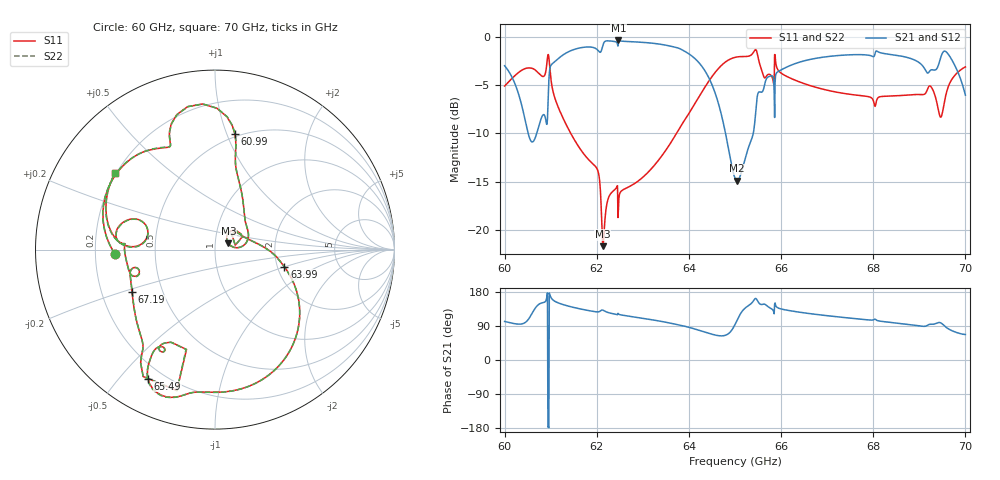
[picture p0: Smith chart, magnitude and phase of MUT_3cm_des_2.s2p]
! TOUCHSTONE file generated by CST MICROWAVE STUDIO
! Date and time: Thu Feb 22 13:10:59 2024
! Project name: material_desal.cst
! Header version: 2018
! Port assignment regex: !\s*Touchstone port\s*([0-9]+)\s*=\s*(CST MWS port|CST DS port)\s*([0-9]+|Zmin|Zmax)\s*\(\"(.*)\"\)(\s*mode\s*([0-9]+))?.*
! Touchstone port assignment:
! Touchstone port 1 = CST MWS port 1 ("")
! Touchstone port 2 = CST MWS port 2 ("")
# GHz S MA R 376.7
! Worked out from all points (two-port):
!   1001 points, 60 GHz to 70 GHz, reference 376.7 ohm
!   highest |S21| = -0.32 dB at 62.47 GHz (marker M1); lowest = -14.9 dB at 65.05 GHz (marker M2)
!   |S21| within 3 dB of the highest: 60.98 GHz to 64.33 GHz (3.347 GHz wide, 5.34 % of centre); 66.02 GHz to 69.12 GHz (3.098 GHz wide, 4.59 % of centre)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
!   lowest |S11| = -21.7 dB at 62.13 GHz (marker M3), VSWR 1.18, Z = 436 + j30.2 ohm
!   |S11| at or under -10 dB: 61.44 GHz to 63.73 GHz (2.291 GHz wide, 3.66 % of centre)
!   |S22| runs from -21.6 to -1.2 dB; largest |S21 - S12| = 0.0049
!   S11 on the Smith chart (normalised r, x): 60 GHz: 0.28, -0.02; 60.99 GHz: 0.47, +1.07; 63.99 GHz: 2.18, -0.50; 65.49 GHz: 0.14, -0.60; 67.19 GHz: 0.33, -0.22; 70 GHz: 0.19, +0.33
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60  0.558 -177.6  0.7118 101.7  0.7118 101.7  0.5583 -177.7
60.6  0.6896 133.4  0.2858 124.0  0.2858 124.1  0.6907 133.3
60.89  0.6583 112.5  0.376 155.1  0.3763 155.1  0.66 112.3
60.99  0.6552 80.3  0.7012 169.2  0.7014 169.2  0.6547 80.2
61.16  0.4352 73.4  0.7739 150.9  0.7739 150.9  0.4354 73.4
61.67  0.2566 50.6  0.8846 134.1  0.8847 134.1  0.257 50.6
62.01  0.2063 25.9  0.8637 126.9  0.8635 126.9  0.2074 26.1
62.13  0.082 24.8  0.9057 131.7  0.9057 131.7  0.08289 24.4
62.47  0.1271 42.7  0.9636 121.9  0.9645 121.9  0.1258 42.5
63.34  0.2296 9.7  0.924 103.2  0.9235 103.3  0.23 9.6
63.99  0.3985 -13.9  0.8235 86.5  0.8231 86.6  0.399 -14.1
64.54  0.6437 -44.2  0.5365 66.7  0.5366 66.6  0.6446 -44.4
65  0.787 -77.8  0.1852 93.6  0.1853 93.5  0.7878 -78.0
65.05  0.7913 -81.4  0.1796 106.2  0.1797 106.1  0.7921 -81.5
65.49  0.8102 -117.5  0.5023 155.8  0.5036 155.9  0.8099 -117.7
65.79  0.6303 -119.6  0.6304 135.5  0.6309 135.5  0.6314 -119.7
66.67  0.5574 -144.0  0.7712 121.7  0.77 121.7  0.5572 -143.8
67.19  0.5195 -152.8  0.8027 114.4  0.8024 114.4  0.5191 -152.5
68.34  0.4945 -168.9  0.8173 99.8  0.8174 99.7  0.4951 -168.6
69.19  0.546 174.5  0.6525 92.6  0.6502 92.7  0.5444 174.8
69.57  0.4942 177.5  0.845 87.5  0.845 87.5  0.4935 177.9
70  0.7018 142.3  0.5006 67.3  0.5007 67.3  0.7025 142.5
